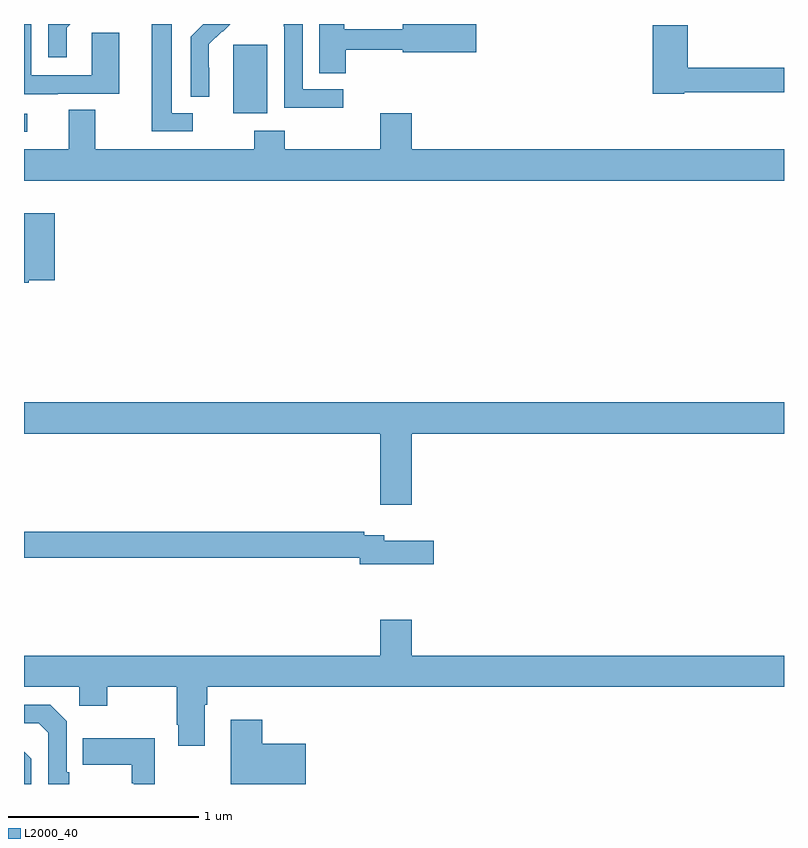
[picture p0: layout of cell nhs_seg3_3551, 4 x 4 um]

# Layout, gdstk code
import gdstk
lib = gdstk.Library(unit=1e-6, precision=1e-09)
def R(c, l, rs):  # rectangles x0, y0, x1, y1
    for r in rs: c.add(gdstk.rectangle(r[:2], r[2:], *l))
def P(c, l, *ps):  # polygons
    for p in ps: c.add(gdstk.Polygon(p, *l))
L2000_40 = (2000, 40)

nhs_seg3_3551 = lib.new_cell('nhs_seg3_3551')
R(nhs_seg3_3551, L2000_40, [(295,707.832,295.018,707.928), (296.102,707.93,296.281,708.291)])
P(nhs_seg3_3551, L2000_40, [(296.694,708.264),(296.994,708.264),(296.994,708.251),(297.379,708.251),(297.379,708.398),(296.994,708.398),(296.994,708.373),(296.686,708.373),(296.686,708.4),(296.555,708.4),(296.555,708.142),(296.694,708.142)],
  [(295.974,708.17),(295.973,708.17),(295.973,708.293),(296.043,708.363),(296.046,708.36),(296.086,708.4),(295.944,708.4),(295.878,708.334),(295.878,708.016),(295.974,708.016)],
  [(296.68,708.057),(296.466,708.057),(296.466,708.4),(296.368,708.4),(296.368,708.388),(296.37,708.388),(296.37,707.959),(296.68,707.959)],
  [(295.225,708.381),(295.244,708.4),(295.128,708.4),(295.128,708.225),(295.225,708.225)],
  [(295.888,707.931),(295.777,707.931),(295.777,708.4),(295.673,708.4),(295.673,707.835),(295.888,707.835)],
  [(295.177,708.033),(295.501,708.033),(295.501,708.353),(295.356,708.353),(295.356,708.129),(295.038,708.129),(295.038,708.4),(295,708.4),(295,708.029),(295.177,708.029)],
  [(298.476,708.042),(299,708.042),(299,708.17),(298.493,708.17),(298.493,708.394),(298.31,708.394),(298.31,708.034),(298.476,708.034)],
  [(299,707.74),(297.04,707.74),(297.04,707.929),(296.876,707.929),(296.876,707.74),(296.372,707.74),(296.372,707.839),(296.212,707.839),(296.212,707.74),(295.375,707.74),(295.375,707.948),(295.235,707.948),(295.235,707.74),(295,707.74),(295,707.576),(299,707.576)],
  [(295.026,707.051),(295.163,707.051),(295.163,707.404),(295,707.404),(295,707.039),(295.026,707.039)],
  [(297.04,706.244),(299,706.244),(299,706.408),(295,706.408),(295,706.244),(296.876,706.244),(296.876,705.87),(297.04,705.87)],
  [(297.157,705.679),(296.896,705.679),(296.896,705.708),(296.792,705.708),(296.792,705.728),(295,705.728),(295,705.592),(296.768,705.592),(296.768,705.557),(297.157,705.557)],
  [(295.951,704.816),(295.964,704.816),(295.964,704.912),(299,704.912),(299,705.076),(297.04,705.076),(297.04,705.265),(296.876,705.265),(296.876,705.076),(295,705.076),(295,704.912),(295.29,704.912),(295.29,704.813),(295.437,704.813),(295.437,704.912),(295.804,704.912),(295.804,704.713),(295.811,704.713),(295.811,704.601),(295.951,704.601)],
  [(295.237,704.461),(295.224,704.461),(295.224,704.73),(295.137,704.817),(295,704.817),(295,704.721),(295.077,704.721),(295.128,704.67),(295.128,704.4),(295.237,704.4)],
  [(296.482,704.611),(296.255,704.611),(296.255,704.737),(296.087,704.737),(296.087,704.4),(296.482,704.4)],
  [(295.687,704.641),(295.309,704.641),(295.309,704.501),(295.566,704.501),(295.566,704.405),(295.578,704.405),(295.578,704.4),(295.687,704.4)],
  [(295.038,704.532),(295,704.57),(295,704.4),(295.038,704.4)])

lib.write_gds('nhs_seg3_3551.gds')
